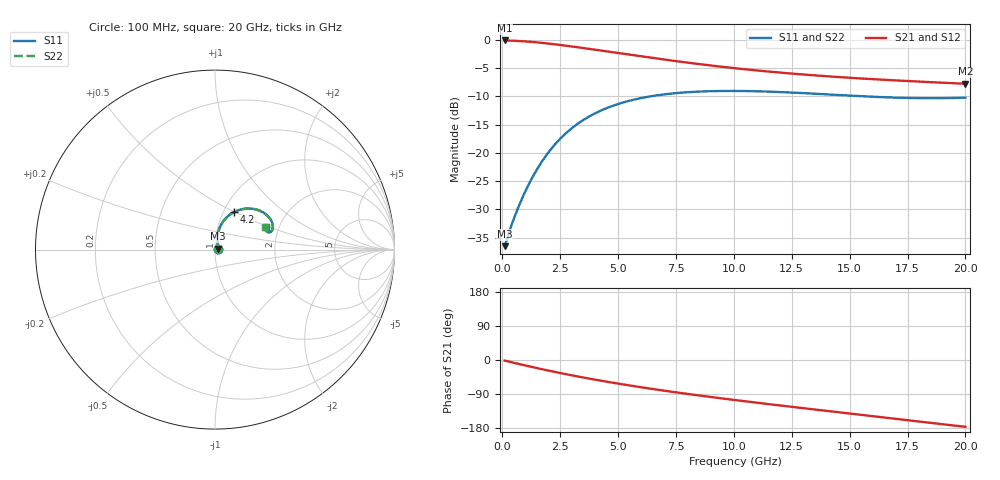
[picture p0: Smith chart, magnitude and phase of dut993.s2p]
! Touchstone file exported from HFSS 2024.1.0
!  File:  C:/UserFiles/LocalFiles/RDL_TSV_Batchsim/temp_RDL_TSV_993_1779976110.aedt
!  Generated:  10:02:05 PM May 28, 2026
!  Design:  RDL_TSV
!  Project:  temp_RDL_TSV_993_1779976110
!  Setup:  Setup1
!  Solution:  Sweep
! Variables:
!  dtsv = 8.77um
!  hbump = 3um
!  htsv = 57.54um
!  ldown = 286.65um
!  lrdl = 451.32um
!  p = 40
!  p1 = 45.76um
!  rhole = 10um
!  subl = 2665.23um
!  t = 450um
!  tdown = 3.93um
!  trdl = 4.31um
!  viad = 10um
!  wdown = 17.03um
!  wrdl = 16.73um
!  xbump = 18um
# GHz S MA R 50.000000
! Terminal data exported
! Port[1] = TM1_1_T1
! Port[2] = TM1_4_T1
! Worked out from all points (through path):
!   200 points, 100 MHz to 20 GHz, reference 50 ohm
!   highest |S21| = -0.13 dB at 100 MHz (marker M1); lowest = -7.8 dB at 20 GHz (marker M2)
!   group delay of S21, straight-line fit = 23.1 ps
!   lowest |S11| = -36.5 dB at 100 MHz (marker M3), VSWR 1.03, Z = 51.4 + j0.481 ohm
!   |S11| at or under -10 dB: start of sweep to 6.423 GHz; 15.55 GHz to end of sweep
!   |S22| runs from -36.5 to -9.1 dB; largest |S21 - S12| = 8.9e-15
!   S11 on the Smith chart (normalised r, x): 100 MHz: 1.03, +0.01; 4.2 GHz: 1.12, +0.49; 20 GHz: 1.70, +0.46
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0.1  0.01491 18.3  0.9856 -1.5  0.9856 -1.5  0.01491 18.3
! Gamma 0 0 0 0
! Port Impedance 50 0 50 0
0.5  0.02616 55.1  0.9797 -7.4  0.9797 -7.4  0.02616 55.1
0.8  0.03721 67.3  0.9726 -11.7  0.9726 -11.7  0.03721 67.3
1.2  0.05543 75.9  0.9597 -17.3  0.9597 -17.3  0.05542 75.9
1.6  0.07712 79.2  0.9435 -22.8  0.9435 -22.8  0.07708 79.2
2  0.1012 79.4  0.9247 -28.0  0.9247 -28.0  0.1011 79.4
2.5  0.133 77.2  0.8991 -34.4  0.8991 -34.4  0.1329 77.2
3  0.1647 73.7  0.8721 -40.4  0.8721 -40.4  0.1646 73.6
3.5  0.195 69.5  0.8445 -46.3  0.8445 -46.3  0.1949 69.4
4.2  0.2334 63.3  0.8059 -54.0  0.8059 -54.0  0.2332 63.2
4.8  0.2617 58.1  0.7736 -60.3  0.7736 -60.3  0.2614 58.0
5.4  0.2855 53.1  0.7425 -66.3  0.7425 -66.3  0.2852 53.1
6.8  0.3248 42.9  0.6762 -79.3  0.6762 -79.3  0.3244 42.9
7.6  0.3385 37.9  0.6428 -86.2  0.6428 -86.2  0.3381 37.9
8.4  0.347 33.6  0.6125 -92.8  0.6125 -92.8  0.3466 33.6
10.1  0.3523 26.2  0.5584 -106.1  0.5584 -106.1  0.3519 26.2
11.7  0.3464 21.4  0.5185 -117.9  0.5185 -117.9  0.3459 21.4
13.4  0.3339 18.4  0.4853 -130.0  0.4853 -130.0  0.3334 18.4
15  0.3205 17.5  0.4607 -141.2  0.4607 -141.2  0.32 17.4
16.7  0.3088 18.4  0.4397 -153.1  0.4397 -153.1  0.3083 18.4
18.4  0.3037 20.8  0.4223 -165.1  0.4223 -165.1  0.3032 20.8
20  0.3073 23.7  0.408 -176.4  0.408 -176.4  0.3068 23.7
